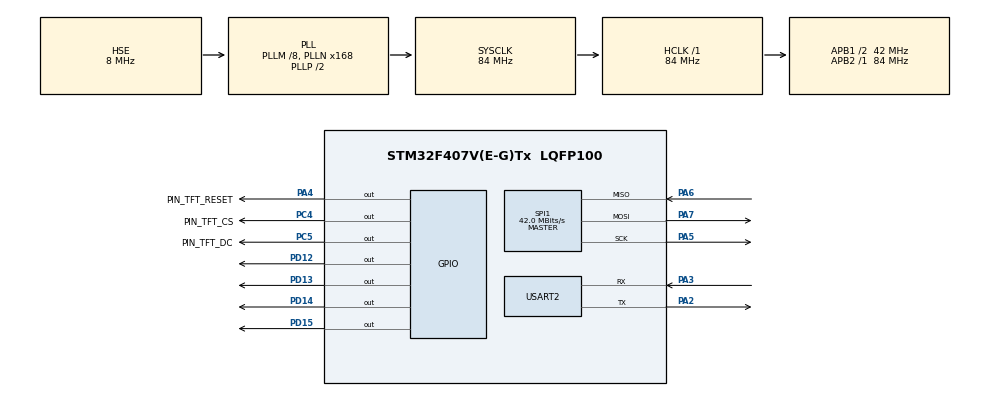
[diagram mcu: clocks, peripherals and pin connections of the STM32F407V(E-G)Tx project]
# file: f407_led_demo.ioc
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Dma.Request0=USART2_RX
Dma.Request1=SPI1_TX
Dma.SPI1_TX.1.Direction=DMA_MEMORY_TO_PERIPH
Dma.SPI1_TX.1.FIFOMode=DMA_FIFOMODE_DISABLE
Dma.SPI1_TX.1.Instance=DMA2_Stream3
Dma.SPI1_TX.1.MemDataAlignment=DMA_MDATAALIGN_BYTE
Dma.SPI1_TX.1.MemInc=DMA_MINC_ENABLE
Dma.SPI1_TX.1.Mode=DMA_NORMAL
Dma.SPI1_TX.1.PeriphDataAlignment=DMA_PDATAALIGN_BYTE
Dma.SPI1_TX.1.PeriphInc=DMA_PINC_DISABLE
Dma.SPI1_TX.1.Priority=DMA_PRIORITY_LOW
Dma.USART2_RX.0.Direction=DMA_PERIPH_TO_MEMORY
Dma.USART2_RX.0.FIFOMode=DMA_FIFOMODE_DISABLE
Dma.USART2_RX.0.Instance=DMA1_Stream5
Dma.USART2_RX.0.MemDataAlignment=DMA_MDATAALIGN_BYTE
Dma.USART2_RX.0.MemInc=DMA_MINC_ENABLE
Dma.USART2_RX.0.Mode=DMA_CIRCULAR
Dma.USART2_RX.0.PeriphDataAlignment=DMA_PDATAALIGN_BYTE
Dma.USART2_RX.0.PeriphInc=DMA_PINC_DISABLE
Dma.USART2_RX.0.Priority=DMA_PRIORITY_LOW
Mcu.Family=STM32F4
Mcu.Name=STM32F407V(E-G)Tx
Mcu.Package=LQFP100
NVIC.DMA1_Stream5_IRQn=true\:0\:0\:false\:false\:true\:false\:true
NVIC.DMA2_Stream3_IRQn=true\:0\:0\:false\:false\:true\:false\:true
NVIC.PriorityGroup=NVIC_PRIORITYGROUP_4
NVIC.SPI1_IRQn=true\:0\:0\:false\:false\:true\:true\:true
PA13.Mode=Serial_Wire
PA13.Signal=SYS_JTMS-SWDIO
PA14.Mode=Serial_Wire
PA14.Signal=SYS_JTCK-SWCLK
PA2.Mode=Asynchronous
PA2.Signal=USART2_TX
PA3.Mode=Asynchronous
PA3.Signal=USART2_RX
PA4.GPIO_Label=PIN_TFT_RESET
PA4.Signal=GPIO_Output
PA5.Mode=Full_Duplex_Master
PA5.Signal=SPI1_SCK
PA6.Mode=Full_Duplex_Master
PA6.Signal=SPI1_MISO
PA7.Mode=Full_Duplex_Master
PA7.Signal=SPI1_MOSI
PC4.GPIO_Label=PIN_TFT_CS
PC4.Signal=GPIO_Output
PC5.GPIO_Label=PIN_TFT_DC
PC5.Signal=GPIO_Output
PD12.Signal=GPIO_Output
PD13.Signal=GPIO_Output
PD14.Signal=GPIO_Output
PD15.Signal=GPIO_Output
PH0-OSC_IN.Mode=HSE-External-Oscillator
PH0-OSC_IN.Signal=RCC_OSC_IN
PH1-OSC_OUT.Mode=HSE-External-Oscillator
PH1-OSC_OUT.Signal=RCC_OSC_OUT
ProjectManager.HeapSize=0x2000
ProjectManager.StackSize=0x4000
ProjectManager.TargetToolchain=STM32CubeIDE
RCC.48MHZClocksFreq_Value=42000000
RCC.AHBFreq_Value=84000000
RCC.APB1CLKDivider=RCC_HCLK_DIV2
RCC.APB1Freq_Value=42000000
RCC.APB1TimFreq_Value=84000000
RCC.APB2Freq_Value=84000000
RCC.APB2TimFreq_Value=84000000
RCC.CortexFreq_Value=84000000
RCC.HCLKFreq_Value=84000000
RCC.HSE_VALUE=8000000
RCC.HSI_VALUE=16000000
RCC.LSE_VALUE=32768
RCC.PLLM=8
RCC.PLLN=168
RCC.PLLSourceVirtual=RCC_PLLSOURCE_HSE
RCC.SYSCLKFreq_VALUE=84000000
RCC.SYSCLKSource=RCC_SYSCLKSOURCE_PLLCLK
RCC.VCOOutputFreq_Value=168000000
SPI1.BaudRatePrescaler=SPI_BAUDRATEPRESCALER_2
SPI1.CalculateBaudRate=42.0 MBits/s
SPI1.Direction=SPI_DIRECTION_2LINES
SPI1.Mode=SPI_MODE_MASTER
SPI1.VirtualType=VM_MASTER
USART2.VirtualMode=VM_ASYNC
board=custom

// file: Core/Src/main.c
/* USER CODE BEGIN Header */
/**
  ******************************************************************************
  * @file           : main.c
  * @brief          : Main program body
  ******************************************************************************
  * @attention
  *
  * <h2><center>&copy; Copyright (c) 2021 STMicroelectronics.
  * All rights reserved.</center></h2>
  *
  * This software component is licensed by ST under BSD 3-Clause license,
  * the "License"; You may not use this file except in compliance with the
  * License. You may obtain a copy of the License at:
  *                        opensource.org/licenses/BSD-3-Clause
  *
  ******************************************************************************
  */
/* USER CODE END Header */
#include "main.h"

/* USER CODE BEGIN Includes */
#include "lib_system.h"
#include "lib_debug.h"
#include "lib_delay.h"
/* USER CODE END Includes */

/* USER CODE BEGIN PD */

#define LED_BLINK_VERSION FALSE

#if LED_BLINK_VERSION
#define VERSION "2.0.0"
#else
#define VERSION "2.0.1"
#endif

/* USER CODE END PD */

SPI_HandleTypeDef hspi1;
DMA_HandleTypeDef hdma_spi1_tx;

UART_HandleTypeDef huart2;
DMA_HandleTypeDef hdma_usart2_rx;

/* USER CODE BEGIN PV */
uint8_t UartBufferRx = 0;
/* USER CODE END PV */

void SystemClock_Config(void);
static void MX_GPIO_Init(void);
static void MX_DMA_Init(void);
static void MX_SPI1_Init(void);
static void MX_USART2_UART_Init(void);
/* USER CODE BEGIN PFP */
void HAL_UART_RxCpltCallback(UART_HandleTypeDef *huart);

/* USER CODE END PFP */

/* USER CODE BEGIN 0 */
void system_ledBlink()
{
    static uint16_t nextChangeTime = 0;
    static GPIO_PinState pinState = GPIO_PIN_SET;

    if (millis() > nextChangeTime)
    {
#if LED_BLINK_VERSION

        nextChangeTime = millis() + 250;
        HAL_GPIO_WritePin(GPIOD, GPIO_PIN_12, pinState);
        HAL_GPIO_WritePin(GPIOD, GPIO_PIN_13, pinState);
        HAL_GPIO_WritePin(GPIOD, GPIO_PIN_14, pinState);
        HAL_GPIO_WritePin(GPIOD, GPIO_PIN_15, pinState);
        pinState = !pinState;

#else
        uint16_t pinNum = GPIO_PIN_12;
        static uint8_t count = 0;
        nextChangeTime = millis() + 100;

        switch (count % 4)
        {
        case 0:
            pinNum = GPIO_PIN_12;
            break;
        case 1:
            pinNum = GPIO_PIN_13;
            break;
        case 2:
            pinNum = GPIO_PIN_14;
            break;
        case 3:
            pinNum = GPIO_PIN_15;
            pinState = !pinState;
            break;
        default:
            break;
        }

        count++;
        HAL_GPIO_WritePin(GPIOD, pinNum, pinState);
#endif
    }
}
/* USER CODE END 0 */

int main(void)
{

    /* MCU Configuration--------------------------------------------------------*/

    /* Reset of all peripherals, Initializes the Flash interface and the Systick. */
    HAL_Init();

    /* Configure the system clock */
    SystemClock_Config();

    /* Initialize all configured peripherals */
    MX_GPIO_Init();
    MX_DMA_Init();
    MX_SPI1_Init();
    MX_USART2_UART_Init();
    /* USER CODE BEGIN 2 */
    HAL_UART_Receive_DMA(&huart2, &UartBufferRx, 1);
    SYSTEM_init();
    /* USER CODE END 2 */

    /* Infinite loop */
    /* USER CODE BEGIN WHILE */
    UART_printf("\r\n\r\n LED Demo v%s", VERSION);
//    uint32_t nextPrintTime = 0;
//    uint8_t count = 0;
    while (1)
    {
        SYSTEM_sync();
        if (DEVICE_STATE_NORMAL == SYSTEM_getmode())
        {
//            if (millis() > nextPrintTime)
//            {
//                nextPrintTime = millis() + 2000;
//                UART_printf("\r\n count: %d", count++);
//            }
            HAL_Delay(100);
            system_ledBlink();
        }
        /* USER CODE END WHILE */

    }
}

void SystemClock_Config(void)
{
    RCC_OscInitTypeDef RCC_OscInitStruct = {0};
    RCC_ClkInitTypeDef RCC_ClkInitStruct = {0};

    /** Configure the main internal regulator output voltage
  */
    __HAL_RCC_PWR_CLK_ENABLE();
    __HAL_PWR_VOLTAGESCALING_CONFIG(PWR_REGULATOR_VOLTAGE_SCALE1);
    /** Initializes the RCC Oscillators according to the specified parameters
  * in the RCC_OscInitTypeDef structure.
  */
    RCC_OscInitStruct.OscillatorType = RCC_OSCILLATORTYPE_HSE;
    RCC_OscInitStruct.HSEState = RCC_HSE_ON;
    RCC_OscInitStruct.PLL.PLLState = RCC_PLL_ON;
    RCC_OscInitStruct.PLL.PLLSource = RCC_PLLSOURCE_HSE;
    RCC_OscInitStruct.PLL.PLLM = 8;
    RCC_OscInitStruct.PLL.PLLN = 168;
    RCC_OscInitStruct.PLL.PLLP = RCC_PLLP_DIV2;
    RCC_OscInitStruct.PLL.PLLQ = 4;
    if (HAL_RCC_OscConfig(&RCC_OscInitStruct) != HAL_OK)
    {
        Error_Handler();
    }
    /** Initializes the CPU, AHB and APB buses clocks
  */
    RCC_ClkInitStruct.ClockType = RCC_CLOCKTYPE_HCLK | RCC_CLOCKTYPE_SYSCLK | RCC_CLOCKTYPE_PCLK1 | RCC_CLOCKTYPE_PCLK2;
    RCC_ClkInitStruct.SYSCLKSource = RCC_SYSCLKSOURCE_PLLCLK;
    RCC_ClkInitStruct.AHBCLKDivider = RCC_SYSCLK_DIV1;
    RCC_ClkInitStruct.APB1CLKDivider = RCC_HCLK_DIV2;
    RCC_ClkInitStruct.APB2CLKDivider = RCC_HCLK_DIV1;

    if (HAL_RCC_ClockConfig(&RCC_ClkInitStruct, FLASH_LATENCY_2) != HAL_OK)
    {
        Error_Handler();
    }
}

static void MX_SPI1_Init(void)
{

    /* SPI1 parameter configuration*/
    hspi1.Instance = SPI1;
    hspi1.Init.Mode = SPI_MODE_MASTER;
    hspi1.Init.Direction = SPI_DIRECTION_2LINES;
    hspi1.Init.DataSize = SPI_DATASIZE_8BIT;
    hspi1.Init.CLKPolarity = SPI_POLARITY_LOW;
    hspi1.Init.CLKPhase = SPI_PHASE_1EDGE;
    hspi1.Init.NSS = SPI_NSS_SOFT;
    hspi1.Init.BaudRatePrescaler = SPI_BAUDRATEPRESCALER_2;
    hspi1.Init.FirstBit = SPI_FIRSTBIT_MSB;
    hspi1.Init.TIMode = SPI_TIMODE_DISABLE;
    hspi1.Init.CRCCalculation = SPI_CRCCALCULATION_DISABLE;
    hspi1.Init.CRCPolynomial = 10;
    if (HAL_SPI_Init(&hspi1) != HAL_OK)
    {
        Error_Handler();
    }
}

static void MX_USART2_UART_Init(void)
{

    huart2.Instance = USART2;
    huart2.Init.BaudRate = 115200;
    huart2.Init.WordLength = UART_WORDLENGTH_8B;
    huart2.Init.StopBits = UART_STOPBITS_1;
    huart2.Init.Parity = UART_PARITY_NONE;
    huart2.Init.Mode = UART_MODE_TX_RX;
    huart2.Init.HwFlowCtl = UART_HWCONTROL_NONE;
    huart2.Init.OverSampling = UART_OVERSAMPLING_16;
    if (HAL_UART_Init(&huart2) != HAL_OK)
    {
        Error_Handler();
    }
}

static void MX_DMA_Init(void)
{

    /* DMA controller clock enable */
    __HAL_RCC_DMA1_CLK_ENABLE();
    __HAL_RCC_DMA2_CLK_ENABLE();

    /* DMA interrupt init */
    /* DMA1_Stream5_IRQn interrupt configuration */
    HAL_NVIC_SetPriority(DMA1_Stream5_IRQn, 0, 0);
    HAL_NVIC_EnableIRQ(DMA1_Stream5_IRQn);
    /* DMA2_Stream3_IRQn interrupt configuration */
    HAL_NVIC_SetPriority(DMA2_Stream3_IRQn, 0, 0);
    HAL_NVIC_EnableIRQ(DMA2_Stream3_IRQn);
}

static void MX_GPIO_Init(void)
{
    GPIO_InitTypeDef GPIO_InitStruct = {0};

    /* GPIO Ports Clock Enable */
    __HAL_RCC_GPIOH_CLK_ENABLE();
    __HAL_RCC_GPIOA_CLK_ENABLE();
    __HAL_RCC_GPIOC_CLK_ENABLE();
    __HAL_RCC_GPIOD_CLK_ENABLE();

    /*Configure GPIO pin Output Level */
    HAL_GPIO_WritePin(PIN_TFT_RESET_GPIO_Port, PIN_TFT_RESET_Pin, GPIO_PIN_RESET);

    /*Configure GPIO pin Output Level */
    HAL_GPIO_WritePin(GPIOC, PIN_TFT_CS_Pin | PIN_TFT_DC_Pin, GPIO_PIN_RESET);

    /*Configure GPIO pin Output Level */
    HAL_GPIO_WritePin(GPIOD, GPIO_PIN_12 | GPIO_PIN_13 | GPIO_PIN_14 | GPIO_PIN_15, GPIO_PIN_RESET);

    /*Configure GPIO pin : PIN_TFT_RESET_Pin */
    GPIO_InitStruct.Pin = PIN_TFT_RESET_Pin;
    GPIO_InitStruct.Mode = GPIO_MODE_OUTPUT_PP;
    GPIO_InitStruct.Pull = GPIO_NOPULL;
    GPIO_InitStruct.Speed = GPIO_SPEED_FREQ_LOW;
    HAL_GPIO_Init(PIN_TFT_RESET_GPIO_Port, &GPIO_InitStruct);

    /*Configure GPIO pins : PIN_TFT_CS_Pin PIN_TFT_DC_Pin */
    GPIO_InitStruct.Pin = PIN_TFT_CS_Pin | PIN_TFT_DC_Pin;
    GPIO_InitStruct.Mode = GPIO_MODE_OUTPUT_PP;
    GPIO_InitStruct.Pull = GPIO_NOPULL;
    GPIO_InitStruct.Speed = GPIO_SPEED_FREQ_LOW;
    HAL_GPIO_Init(GPIOC, &GPIO_InitStruct);

    /*Configure GPIO pins : PD12 PD13 PD14 PD15 */
    GPIO_InitStruct.Pin = GPIO_PIN_12 | GPIO_PIN_13 | GPIO_PIN_14 | GPIO_PIN_15;
    GPIO_InitStruct.Mode = GPIO_MODE_OUTPUT_PP;
    GPIO_InitStruct.Pull = GPIO_NOPULL;
    GPIO_InitStruct.Speed = GPIO_SPEED_FREQ_LOW;
    HAL_GPIO_Init(GPIOD, &GPIO_InitStruct);
}

/* USER CODE BEGIN 4 */
void HAL_UART_RxCpltCallback(UART_HandleTypeDef *huart)
{
    if (huart->Instance == USART2)
    {
        UART_rxIntrWrite(UartBufferRx);
    }
}
/* USER CODE END 4 */

void Error_Handler(void)
{
    __disable_irq();
    while (1)
    {
    }
}

/************************ (C) COPYRIGHT STMicroelectronics *****END OF FILE****/
